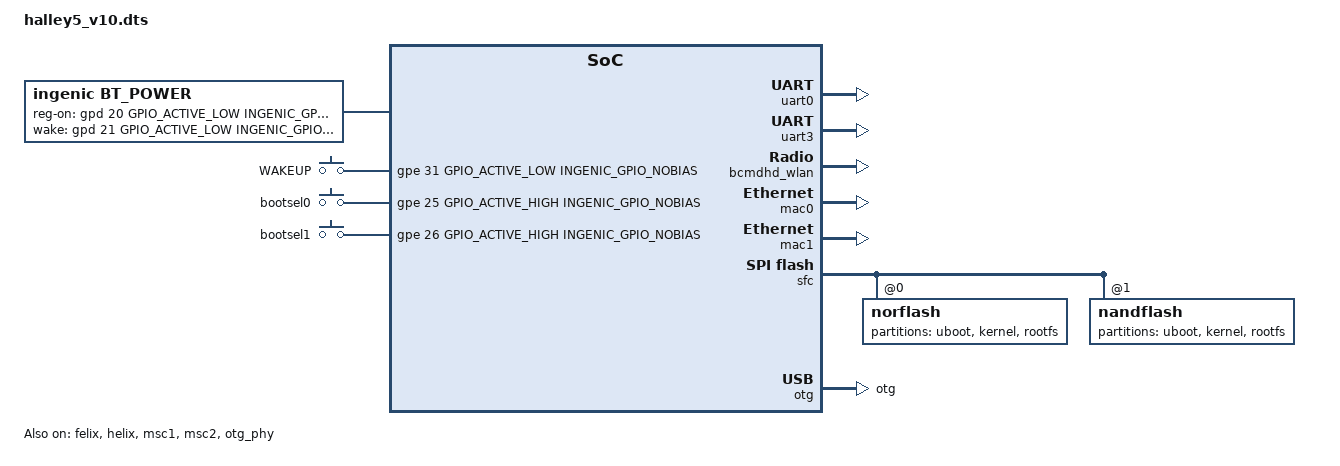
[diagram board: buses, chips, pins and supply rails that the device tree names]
/dts-v1/;

#include <dt-bindings/input/input.h>
#include "x2000-v12.dtsi"
#include <dt-bindings/interrupt-controller/irq.h>

/ {
	compatible = "ingenic,halley5", "ingenic,x2000-v12";
};

&uart0 {
	status = "okay";
	pinctrl-names = "default";
	pinctrl-0 = <&uart0_pd>;
};

&uart2 {
	status = "disable";
};

&uart3 {
	status = "okay";
	pinctrl-names = "default";
	pinctrl-0 = <&uart3_pc>;
};

&cpufreq {
	status = "okay";
	operating-points = <
		/*KHZ uV */
		1200000	900000
		750000	900000
		600000	900000
		500000	900000
		400000	900000
		375000	900000
		300000	900000
		200000	900000
			>;

};

&pinctrl {
	ingenic,gpa_voltage = <GPIO_VOLTAGE_1V8>;
};

&felix {
	status = "okay";
};

&helix {
	status = "okay";
};

&pdma {
	status = "okay";
};

&msc0 {
	status = "disable";
	/*mmc-hs200-1_8v;*/
	cap-mmc-highspeed;
	non-removable;
	max-frequency = <50000000>;
	bus-width = <4>;
	non-removable;
	voltage-ranges = <1800 3300>;

	/* special property */
	ingenic,rst-gpios = <0>;
};

&msc1 {
	status = "okay";
	pinctrl-names ="default","enable", "disable";
	pinctrl-0 = <&msc1_4bit>;
	pinctrl-1 = <&rtc32k_enable>;
	pinctrl-2 = <&rtc32k_disable>;

	sd-uhs-sdr104;
	max-frequency = <100000000>;
	bus-width = <4>;
	voltage-ranges = <1800 3300>;
	non-removable;

	ingenic,sdio_clk = <1>;
	keep-power-in-suspend;

	/* special property */
	ingenic,sdr-gpios = <0>;
	ingenic,rst-gpios = <0>;
	ingenic,removal-manual; /*removal-dontcare, removal-nonremovable, removal-removable, removal-manual*/

	bcmdhd_wlan: bcmdhd_wlan {
		 compatible = "android,bcmdhd_wlan";
		 ingenic,sdio-irq = <&gpd 0 IRQ_TYPE_LEVEL_HIGH INGENIC_GPIO_NOBIAS>;
		 ingenic,sdio-reset = <&gpd 1 GPIO_ACTIVE_LOW INGENIC_GPIO_NOBIAS>;
	};
};


&msc2 {
	status = "okay";
	pinctrl-names ="default";
	pinctrl-0 = <&msc2_4bit>;
	sd-uhs-sdr104;
	sd-uhs-sdr50;
	/* cd-inverted; */
	max-frequency = <200000000>;
	bus-width = <4>;
	voltage-ranges = <1800 3300>;

	cd-gpios = <&gpc 20 GPIO_ACTIVE_LOW INGENIC_GPIO_NOBIAS>;
	/* special property */
	ingenic,sdr-gpios = <&gpc 0 GPIO_ACTIVE_HIGH INGENIC_GPIO_NOBIAS>;
	ingenic,rst-gpios = <0>;
};


&mac0 {
	pinctrl-names = "default", "reset";
	pinctrl-0 = <&mac0_rgmii_p0_normal>, <&mac0_rgmii_p1_normal>, <&mac0_phy_clk>;
	pinctrl-1 = <&mac0_rgmii_p0_rst>, <&mac0_rgmii_p1_normal>, <&mac0_phy_clk>;
	status = "okay";
	ingenic,rst-gpio = <&gpc 22 GPIO_ACTIVE_LOW INGENIC_GPIO_NOBIAS>;
	ingenic,rst-ms = <10>;
	ingenic,rst-delay-ms = <15>;
	ingenic,mac-mode = <RGMII>;
	ingenic,mode-reg = <0xb00000e4>;
	ingenic,rx-clk-delay = <0x2>;
	ingenic,tx-clk-delay = <0x3f>;
	ingenic,phy-clk-freq = <25000000>;
};

&mac1 {
	pinctrl-names = "default", "reset";
	pinctrl-0 = <&mac1_rgmii_p0_normal>, <&mac1_rgmii_p1_normal>, <&mac1_phy_clk>;
	pinctrl-1 = <&mac1_rgmii_p0_rst>, <&mac1_rgmii_p1_normal>, <&mac1_phy_clk>;
	status = "okay";
	ingenic,rst-gpio = <&gpb 16 GPIO_ACTIVE_LOW INGENIC_GPIO_NOBIAS>;
	ingenic,rst-ms = <10>;
	ingenic,rst-delay-ms = <15>;
	ingenic,mac-mode = <RGMII>;
	ingenic,mode-reg = <0xb00000e8>;
	ingenic,rx-clk-delay = <0x0>;
	ingenic,tx-clk-delay = <0x3f>;
	ingenic,phy-clk-freq = <25000000>;
};

&sfc {
	status = "okay";
	pinctrl-names = "default";
	pinctrl-0 = <&sfc_pe>;
	ingenic,sfc-init-frequency = <200000000>;
	ingenic,sfc-max-frequency = <400000000>;
	ingenic,use_ofpart_info  = /bits/ 8 <0>;
	ingenic,spiflash_param_offset = <0>;

	norflash@0 {
		partitions {
			compatible = "fixed-partitions";
			#address-cells = <1>;
			#size-cells = <1>;

			/* spi nor flash partition */
			uboot@0 {
				label = "uboot";
				reg = <0x0000000 0x40000>;
				/*read-only;*/
			};

			kernel@40000 {
				label = "kernel";
				reg = <0x40000 0x300000>;
			};

			rootfs@360000 {
				label = "rootfs";
				reg = <0x360000 0xca0000>;
			};
		};
	};

	nandflash@1 {
		partitions {
			compatible = "fixed-partitions";
			#address-cells = <1>;
			#size-cells = <1>;

			/* spi nand flash partition */
			partition@0 {
				label = "uboot";
				reg = <0x0000000 0x100000>;
				/*read-only;*/
			};

			partition@100000 {
				label = "kernel";
				reg = <0x100000 0x800000>;
			};

			partition@900000 {
				label = "rootfs";
				reg = <0x900000 0xf700000>;
			};
		};
	};

};

&spi0 {
	status = "disable";
	pinctrl-names = "default";
	pinctrl-0 = <&spi0_pb>;

	spi-max-frequency = <54000000>;
	num-cs = <2>;
	cs-gpios = <0>, <0>;
	/*cs-gpios = <&gpa 27 GPIO_ACTIVE_HIGH INGENIC_GPIO_NOBIAS>, <&gpa 27 GPIO_ACTIVE_HIGH INGENIC_GPIO_NOBIAS>;*/
	ingenic,chnl = <0>;
	ingenic,allow_cs_same = <1>;
	ingenic,bus_num = <0>;
	ingenic,has_dma_support = <0>;
	ingenic,spi-src-clk = <1>;/*0.ext; 1.ssi*/

	/* Add SPI interface device */
	spidev: spidev@0 {
		compatible = "rohm,dh2228fv";
		reg = <0>;
		spi-max-frequency = <10000000>;
	};
};

&otg {
	g-use-dma;
	dr_mode = "otg"; // host,peripheral,otg
	status = "okay";
};

&as_be_baic {
	pinctrl-names = "default";
	pinctrl-0 =  <&baic4_pd>;
};

&otg_phy {
	compatible = "ingenic,innophy", "syscon";
	ingenic,vbus-dete-gpio = <&gpd 17 GPIO_ACTIVE_LOW INGENIC_GPIO_NOBIAS>;
	ingenic,drvvbus-gpio = <&gpe 22 GPIO_ACTIVE_HIGH INGENIC_GPIO_NOBIAS>;
	status = "okay";
};

/ {

	/*
	 * gpd 21 bt wakeup host
	 * gpd 22 host wakeup bt
	 */
	bt_power {
		compatible = "ingenic,bt_power";
		ingenic,reg-on-gpio = <&gpd 20 GPIO_ACTIVE_LOW INGENIC_GPIO_NOBIAS>;
		ingenic,wake-gpio = <&gpd 21 GPIO_ACTIVE_LOW INGENIC_GPIO_NOBIAS>;
	};

	sound {
		compatible = "ingenic,x2000-sound";
		ingenic,model = "halley5_v20";
	};

	extclk: extclk {
		clock-frequency = <24000000>;
	};

	gpio_keys: gpio_keys {
		   compatible = "gpio-keys";

		   wakeup {
			   label = "WAKEUP";
			   linux,code = <KEY_WAKEUP>;
			   gpios = <&gpe 31 GPIO_ACTIVE_LOW INGENIC_GPIO_NOBIAS>;
			   gpio-key,wakeup;
		   };

		   bootsel0 {
			   label = "bootsel0";
			   linux,code = <KEY_HOME>;
			   gpios = <&gpe 25 GPIO_ACTIVE_HIGH INGENIC_GPIO_NOBIAS>;
		   };

		   bootsel1 {
			   label = "bootsel1";
			   linux,code = <KEY_BACK>;
			   gpios = <&gpe 26 GPIO_ACTIVE_HIGH INGENIC_GPIO_NOBIAS>;
		   };
	   };

};
